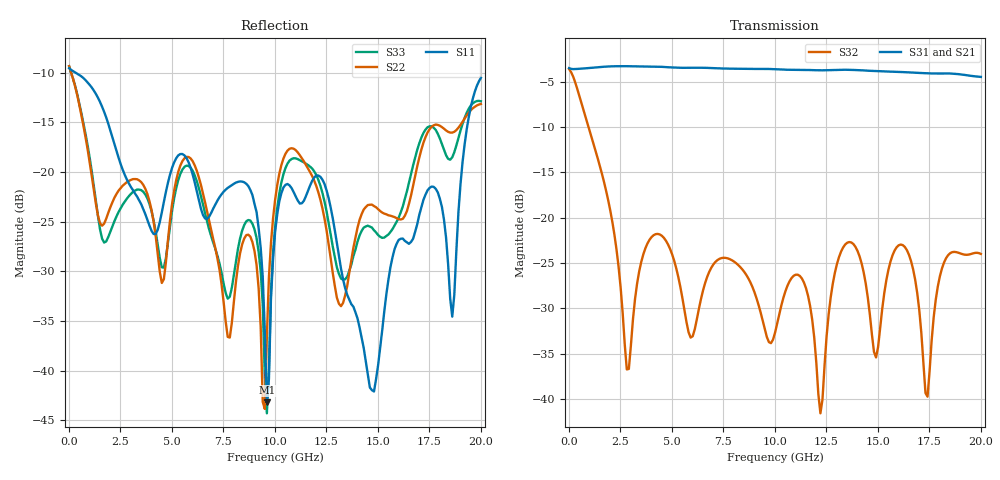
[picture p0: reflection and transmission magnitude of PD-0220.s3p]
! MARKI MICROWAVE INC.
! Email:  info@markimicrowave.com  Phone:  408-778-4200
! Model Number:  PD0220  Date:  07/11
! Filename:		PD-0220.S3P  Version: 1.0
! Description:  3-port S-parameter data for Power Divider PD0220
! Frequency Range: 	10 MHz to 20 GHz
! Port Configuration:	PORT 1: COMMON, PORT 2 and Port 3: Output
! S3P File: Measurements: Mag<S11> Ang<S11> Mag<S12> Ang<S12> Mag<S13> Ang<S13>! row 1
!  Mag<S21> Ang<S21> Mag<S22> Ang<S22> Mag<S23> Ang<S23>! row 2
!  Mag<S31> Ang<S31> Mag<S32> Ang<S32> Mag<S33> Ang<S33>! row 3
# GHz S DB R 50
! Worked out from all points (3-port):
!   201 points, 10 MHz to 20 GHz, reference 50 ohm
!   strongest paths, dB at 10 MHz, 5.01 GHz, 10.01 GHz, 15.01 GHz, 20 GHz:
!     S31: -3.5, -3.4, -3.6, -3.9, -4.5
!     S21: -3.5, -3.5, -3.8, -4.1, -4.8
!     S32: -3.6, -24.0, -32.7, -34.3, -24.0
!   lowest |S11| = -43.2 dB at 9.61 GHz (marker M1), VSWR 1.01, Z = 49.8 - j0.674 ohm
!   |S11| at or under -10 dB: 321.6 MHz to end of sweep
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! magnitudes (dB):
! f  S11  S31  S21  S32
! 10 MHz  -9.5  -3.5  -3.5  -3.6
! 2.81 GHz  -20.7  -3.3  -3.3  -36.8
! 8.71 GHz  -21.4  -3.6  -3.7  -26.7
! 9.61 GHz  -43.2  -3.6  -3.7  -33.2
! 10.01 GHz  -26.0  -3.6  -3.8  -32.7
! 12.31 GHz  -20.8  -3.8  -3.9  -40.1
! 14.81 GHz  -42.1  -3.8  -4.1  -34.8
! 17.51 GHz  -21.6  -4.1  -4.4  -36.9
! 18.61 GHz  -34.6  -4.1  -4.5  -23.8
! 20 GHz  -10.5  -4.5  -4.8  -24.0
